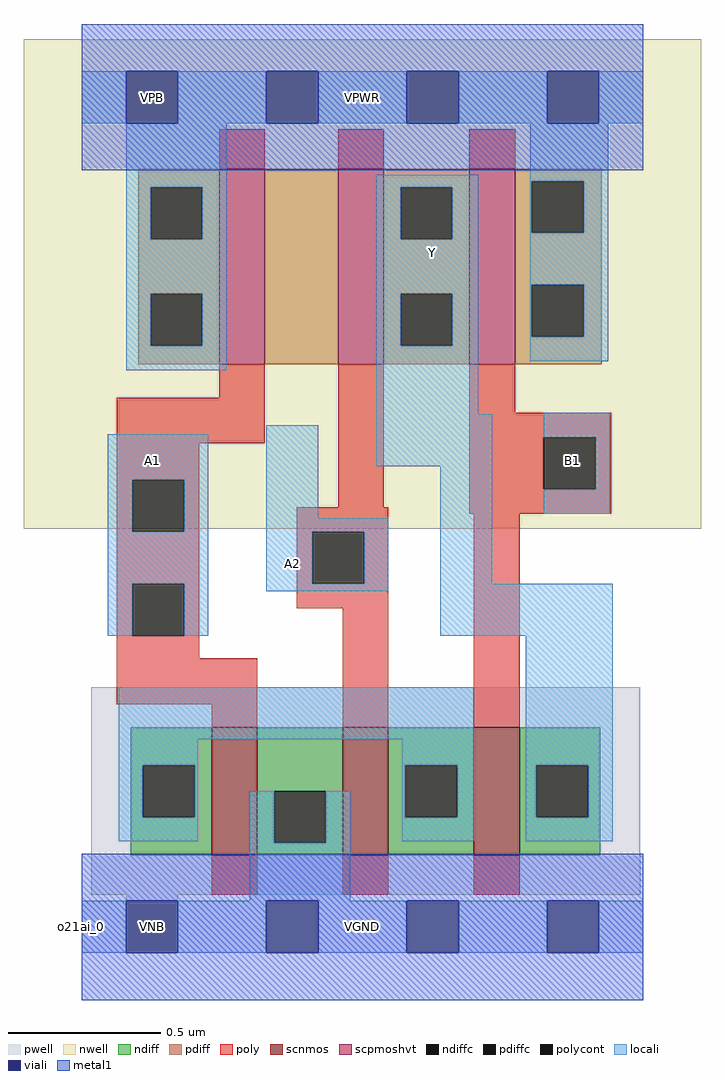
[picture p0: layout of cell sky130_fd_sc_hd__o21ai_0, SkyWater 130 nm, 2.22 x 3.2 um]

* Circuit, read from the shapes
.subckt sky130_fd_sc_hd__o21ai_0 A1 A2 B1 VGND VNB VPB VPWR Y
XM1 VGND A1 n1 VNB sky130_fd_pr__nfet_01v8 w=0.42 l=0.15
XM2 n1 A2 VGND VNB sky130_fd_pr__nfet_01v8 w=0.42 l=0.15
XM3 Y B1 n1 VNB sky130_fd_pr__nfet_01v8 w=0.42 l=0.15
XM4 n2 A1 VPWR VPB sky130_fd_pr__pfet_01v8_hvt w=0.64 l=0.15
XM5 Y A2 n2 VPB sky130_fd_pr__pfet_01v8_hvt w=0.64 l=0.15
XM6 VPWR B1 Y VPB sky130_fd_pr__pfet_01v8_hvt w=0.64 l=0.15
.ends

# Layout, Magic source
magic
tech sky130A
magscale 1 2
<< nwell >>
rect -38 261 406 582
<< pwell >>
rect 6 21 366 157
rect 29 -17 63 21
<< scnmos >>
rect 85 47 115 131
rect 171 47 201 131
rect 257 47 287 131
<< scpmoshvt >>
rect 90 369 120 497
rect 168 369 198 497
rect 254 369 284 497
<< ndiff >>
rect 32 106 85 131
rect 32 72 40 106
rect 74 72 85 106
rect 32 47 85 72
rect 115 89 171 131
rect 115 55 126 89
rect 160 55 171 89
rect 115 47 171 55
rect 201 106 257 131
rect 201 72 212 106
rect 246 72 257 106
rect 201 47 257 72
rect 287 106 340 131
rect 287 72 298 106
rect 332 72 340 106
rect 287 47 340 72
<< pdiff >>
rect 37 485 90 497
rect 37 451 45 485
rect 79 451 90 485
rect 37 415 90 451
rect 37 381 45 415
rect 79 381 90 415
rect 37 369 90 381
rect 120 369 168 497
rect 198 485 254 497
rect 198 451 209 485
rect 243 451 254 485
rect 198 415 254 451
rect 198 381 209 415
rect 243 381 254 415
rect 198 369 254 381
rect 284 489 341 497
rect 284 455 295 489
rect 329 455 341 489
rect 284 421 341 455
rect 284 387 295 421
rect 329 387 341 421
rect 284 369 341 387
<< ndiffc >>
rect 40 72 74 106
rect 126 55 160 89
rect 212 72 246 106
rect 298 72 332 106
<< pdiffc >>
rect 45 451 79 485
rect 45 381 79 415
rect 209 451 243 485
rect 209 381 243 415
rect 295 455 329 489
rect 295 387 329 421
<< poly >>
rect 90 497 120 523
rect 168 497 198 523
rect 254 497 284 523
rect 90 347 120 369
rect 23 317 120 347
rect 23 293 77 317
rect 23 259 33 293
rect 67 259 77 293
rect 168 275 198 369
rect 254 337 284 369
rect 254 321 347 337
rect 254 287 303 321
rect 337 287 347 321
rect 23 225 77 259
rect 23 191 33 225
rect 67 191 77 225
rect 141 259 201 275
rect 254 271 347 287
rect 141 225 151 259
rect 185 225 201 259
rect 141 209 201 225
rect 23 176 77 191
rect 23 146 115 176
rect 85 131 115 146
rect 171 131 201 209
rect 257 131 287 271
rect 85 21 115 47
rect 171 21 201 47
rect 257 21 287 47
<< polycont >>
rect 33 259 67 293
rect 303 287 337 321
rect 33 191 67 225
rect 151 225 185 259
<< locali >>
rect 0 527 29 561
rect 63 527 121 561
rect 155 527 213 561
rect 247 527 305 561
rect 339 527 368 561
rect 29 485 95 527
rect 29 451 45 485
rect 79 451 95 485
rect 29 415 95 451
rect 29 381 45 415
rect 79 381 95 415
rect 29 365 95 381
rect 193 485 260 493
rect 193 451 209 485
rect 243 451 260 485
rect 193 415 260 451
rect 193 381 209 415
rect 243 381 260 415
rect 193 336 260 381
rect 294 489 345 527
rect 294 455 295 489
rect 329 455 345 489
rect 294 421 345 455
rect 294 387 295 421
rect 329 387 345 421
rect 294 371 345 387
rect 17 293 83 323
rect 17 259 33 293
rect 67 259 83 293
rect 17 225 83 259
rect 17 191 33 225
rect 67 191 83 225
rect 121 268 155 329
rect 193 302 269 336
rect 121 259 201 268
rect 121 225 151 259
rect 185 225 201 259
rect 121 220 201 225
rect 235 225 269 302
rect 303 321 346 337
rect 337 287 346 321
rect 303 271 346 287
rect 235 191 348 225
rect 24 123 257 157
rect 24 106 76 123
rect 24 72 40 106
rect 74 72 76 106
rect 210 106 257 123
rect 24 56 76 72
rect 110 55 126 89
rect 160 55 176 89
rect 210 72 212 106
rect 246 72 257 106
rect 210 56 257 72
rect 291 106 348 191
rect 291 72 298 106
rect 332 72 348 106
rect 291 56 348 72
rect 110 17 176 55
rect 0 -17 29 17
rect 63 -17 121 17
rect 155 -17 213 17
rect 247 -17 305 17
rect 339 -17 368 17
<< viali >>
rect 29 527 63 561
rect 121 527 155 561
rect 213 527 247 561
rect 305 527 339 561
rect 29 -17 63 17
rect 121 -17 155 17
rect 213 -17 247 17
rect 305 -17 339 17
<< metal1 >>
rect 0 561 368 592
rect 0 527 29 561
rect 63 527 121 561
rect 155 527 213 561
rect 247 527 305 561
rect 339 527 368 561
rect 0 496 368 527
rect 0 17 368 48
rect 0 -17 29 17
rect 63 -17 121 17
rect 155 -17 213 17
rect 247 -17 305 17
rect 339 -17 368 17
rect 0 -48 368 -17
<< labels >>
flabel pwell s 29 -17 63 17 0 FreeSans 200 0 0 0 VNB
port 5 nsew ground bidirectional
flabel nwell s 29 527 63 561 0 FreeSans 200 0 0 0 VPB
port 6 nsew power bidirectional
flabel metal1 s 29 -17 63 17 0 FreeSans 200 0 0 0 VGND
port 4 nsew ground bidirectional abutment
flabel metal1 s 29 527 63 561 0 FreeSans 200 0 0 0 VPWR
port 7 nsew power bidirectional abutment
flabel locali s 213 425 247 459 0 FreeSans 340 0 0 0 Y
port 8 nsew signal output
flabel locali s 305 289 339 323 0 FreeSans 340 0 0 0 B1
port 3 nsew signal input
flabel locali s 121 221 155 255 0 FreeSans 340 0 0 0 A2
port 2 nsew signal input
flabel locali s 29 289 63 323 0 FreeSans 340 0 0 0 A1
port 1 nsew signal input
rlabel comment s 0 0 0 0 4 o21ai_0
rlabel metal1 s 0 -48 368 48 1 VGND
port 4 nsew ground bidirectional abutment
rlabel metal1 s 0 496 368 592 1 VPWR
port 7 nsew power bidirectional abutment
<< properties >>
string FIXED_BBOX 0 0 368 544
string GDS_END 1286826
string GDS_FILE $PDKPATH/libs.ref/sky130_fd_sc_hd/gds/sky130_fd_sc_hd.gds
string GDS_START 1282564
string LEFclass CORE
string LEFsite unithd
string LEFsymmetry X Y R90
string path 0.000 0.000 1.840 0.000 
<< end >>
